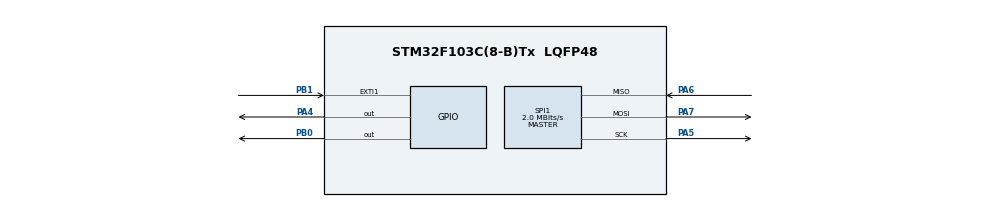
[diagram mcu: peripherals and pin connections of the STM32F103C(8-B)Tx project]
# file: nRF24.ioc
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Mcu.Family=STM32F1
Mcu.Name=STM32F103C(8-B)Tx
Mcu.Package=LQFP48
NVIC.PriorityGroup=NVIC_PRIORITYGROUP_4
PA13.Mode=Serial_Wire
PA13.Signal=SYS_JTMS-SWDIO
PA14.Mode=Serial_Wire
PA14.Signal=SYS_JTCK-SWCLK
PA4.Signal=GPIO_Output
PA5.Mode=Full_Duplex_Master
PA5.Signal=SPI1_SCK
PA6.Mode=Full_Duplex_Master
PA6.Signal=SPI1_MISO
PA7.Mode=Full_Duplex_Master
PA7.Signal=SPI1_MOSI
PB0.Signal=GPIO_Output
PB1.Signal=GPXTI1
ProjectManager.HeapSize=0x200
ProjectManager.StackSize=0x400
ProjectManager.TargetToolchain=STM32CubeIDE
RCC.APB1Freq_Value=8000000
RCC.APB2Freq_Value=8000000
SPI1.BaudRatePrescaler=SPI_BAUDRATEPRESCALER_4
SPI1.CalculateBaudRate=2.0 MBits/s
SPI1.Direction=SPI_DIRECTION_2LINES
SPI1.Mode=SPI_MODE_MASTER
SPI1.VirtualType=VM_MASTER
board=custom

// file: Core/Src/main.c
/* USER CODE BEGIN Header */
/**
  ******************************************************************************
  * @file           : main.c
  * @brief          : Main program body
  ******************************************************************************
  * @attention
  *
  * Copyright (c) 2022 STMicroelectronics.
  * All rights reserved.
  *
  * This software is licensed under terms that can be found in the LICENSE file
  * in the root directory of this software component.
  * If no LICENSE file comes with this software, it is provided AS-IS.
  *
  ******************************************************************************
  */
/* USER CODE END Header */
#include "main.h"

/* USER CODE BEGIN Includes */
#include "nRF24L01.h"
/* USER CODE END Includes */

SPI_HandleTypeDef hspi1;

/* USER CODE BEGIN PV */
nRF24_UNIT nRF24_1;
/* USER CODE END PV */

uint8_t spiTransfer(uint8_t data)
{
	uint8_t value = 0;
	HAL_SPI_TransmitReceive(&hspi1, &data, &value, 1, 100);
	return value;
}

void SystemClock_Config(void);
static void MX_GPIO_Init(void);
static void MX_SPI1_Init(void);

int main(void)
{
  /* USER CODE BEGIN 1 */

	//

  /* USER CODE END 1 */

  /* MCU Configuration--------------------------------------------------------*/

  /* Reset of all peripherals, Initializes the Flash interface and the Systick. */
  HAL_Init();

  /* Configure the system clock */
  SystemClock_Config();

  /* Initialize all configured peripherals */
  MX_GPIO_Init();
  MX_SPI1_Init();
  /* USER CODE BEGIN 2 */
	uint8_t txAddress[5] = {0x01, 0x02, 0x03, 0x04, 0x05};

	//GHI
	HAL_GPIO_WritePin(GPIOA, GPIO_PIN_0, GPIO_PIN_RESET); /* CE = 0 */
	HAL_GPIO_WritePin(GPIOA, GPIO_PIN_1, GPIO_PIN_RESET); /* CSN = 0 */
	HAL_Delay(1);
	spiTransfer(nRF24_CMD_W_REGISTER|nRF24_REG_TX_ADDR);
	for(uint8_t i=0; i<5; i++)
	{
		spiTransfer(txAddress[i]);
	}
	HAL_GPIO_WritePin(GPIOA, GPIO_PIN_1, GPIO_PIN_SET); /* CSN = 1 */

	uint8_t myAddress[5];
	HAL_GPIO_WritePin(GPIOA, GPIO_PIN_1, GPIO_PIN_RESET); /* CSN = 0 */
	HAL_Delay(1);
	spiTransfer(nRF24_CMD_R_REGISTER|nRF24_REG_TX_ADDR);
	for(uint8_t i=0; i<5; i++)
	{
		myAddress[i] = spiTransfer(0xff);
	}
	HAL_GPIO_WritePin(GPIOA, GPIO_PIN_1, GPIO_PIN_SET); /* CSN = 1 */

  /* USER CODE END 2 */

  /* Infinite loop */
  while (1)
  {

  }
}

void SystemClock_Config(void)
{
  RCC_OscInitTypeDef RCC_OscInitStruct = {0};
  RCC_ClkInitTypeDef RCC_ClkInitStruct = {0};

  /** Initializes the RCC Oscillators according to the specified parameters
  * in the RCC_OscInitTypeDef structure.
  */
  RCC_OscInitStruct.OscillatorType = RCC_OSCILLATORTYPE_HSI;
  RCC_OscInitStruct.HSIState = RCC_HSI_ON;
  RCC_OscInitStruct.HSICalibrationValue = RCC_HSICALIBRATION_DEFAULT;
  RCC_OscInitStruct.PLL.PLLState = RCC_PLL_NONE;
  if (HAL_RCC_OscConfig(&RCC_OscInitStruct) != HAL_OK)
  {
    Error_Handler();
  }
  /** Initializes the CPU, AHB and APB buses clocks
  */
  RCC_ClkInitStruct.ClockType = RCC_CLOCKTYPE_HCLK|RCC_CLOCKTYPE_SYSCLK
                              |RCC_CLOCKTYPE_PCLK1|RCC_CLOCKTYPE_PCLK2;
  RCC_ClkInitStruct.SYSCLKSource = RCC_SYSCLKSOURCE_HSI;
  RCC_ClkInitStruct.AHBCLKDivider = RCC_SYSCLK_DIV1;
  RCC_ClkInitStruct.APB1CLKDivider = RCC_HCLK_DIV1;
  RCC_ClkInitStruct.APB2CLKDivider = RCC_HCLK_DIV1;

  if (HAL_RCC_ClockConfig(&RCC_ClkInitStruct, FLASH_LATENCY_0) != HAL_OK)
  {
    Error_Handler();
  }
}

static void MX_SPI1_Init(void)
{

  /* SPI1 parameter configuration*/
  hspi1.Instance = SPI1;
  hspi1.Init.Mode = SPI_MODE_MASTER;
  hspi1.Init.Direction = SPI_DIRECTION_2LINES;
  hspi1.Init.DataSize = SPI_DATASIZE_8BIT;
  hspi1.Init.CLKPolarity = SPI_POLARITY_LOW;
  hspi1.Init.CLKPhase = SPI_PHASE_1EDGE;
  hspi1.Init.NSS = SPI_NSS_SOFT;
  hspi1.Init.BaudRatePrescaler = SPI_BAUDRATEPRESCALER_4;
  hspi1.Init.FirstBit = SPI_FIRSTBIT_MSB;
  hspi1.Init.TIMode = SPI_TIMODE_DISABLE;
  hspi1.Init.CRCCalculation = SPI_CRCCALCULATION_DISABLE;
  hspi1.Init.CRCPolynomial = 10;
  if (HAL_SPI_Init(&hspi1) != HAL_OK)
  {
    Error_Handler();
  }

}

static void MX_GPIO_Init(void)
{
  GPIO_InitTypeDef GPIO_InitStruct = {0};

  /* GPIO Ports Clock Enable */
  __HAL_RCC_GPIOA_CLK_ENABLE();
  __HAL_RCC_GPIOB_CLK_ENABLE();

  /*Configure GPIO pin Output Level */
  HAL_GPIO_WritePin(GPIOA, GPIO_PIN_4, GPIO_PIN_RESET);

  /*Configure GPIO pin Output Level */
  HAL_GPIO_WritePin(GPIOB, GPIO_PIN_0, GPIO_PIN_RESET);

  /*Configure GPIO pin : PA4 */
  GPIO_InitStruct.Pin = GPIO_PIN_4;
  GPIO_InitStruct.Mode = GPIO_MODE_OUTPUT_PP;
  GPIO_InitStruct.Pull = GPIO_NOPULL;
  GPIO_InitStruct.Speed = GPIO_SPEED_FREQ_LOW;
  HAL_GPIO_Init(GPIOA, &GPIO_InitStruct);

  /*Configure GPIO pin : PB0 */
  GPIO_InitStruct.Pin = GPIO_PIN_0;
  GPIO_InitStruct.Mode = GPIO_MODE_OUTPUT_PP;
  GPIO_InitStruct.Pull = GPIO_NOPULL;
  GPIO_InitStruct.Speed = GPIO_SPEED_FREQ_LOW;
  HAL_GPIO_Init(GPIOB, &GPIO_InitStruct);

  /*Configure GPIO pin : PB1 */
  GPIO_InitStruct.Pin = GPIO_PIN_1;
  GPIO_InitStruct.Mode = GPIO_MODE_IT_RISING;
  GPIO_InitStruct.Pull = GPIO_NOPULL;
  HAL_GPIO_Init(GPIOB, &GPIO_InitStruct);

}

void Error_Handler(void)
{
  __disable_irq();
  while (1)
  {
  }
}
